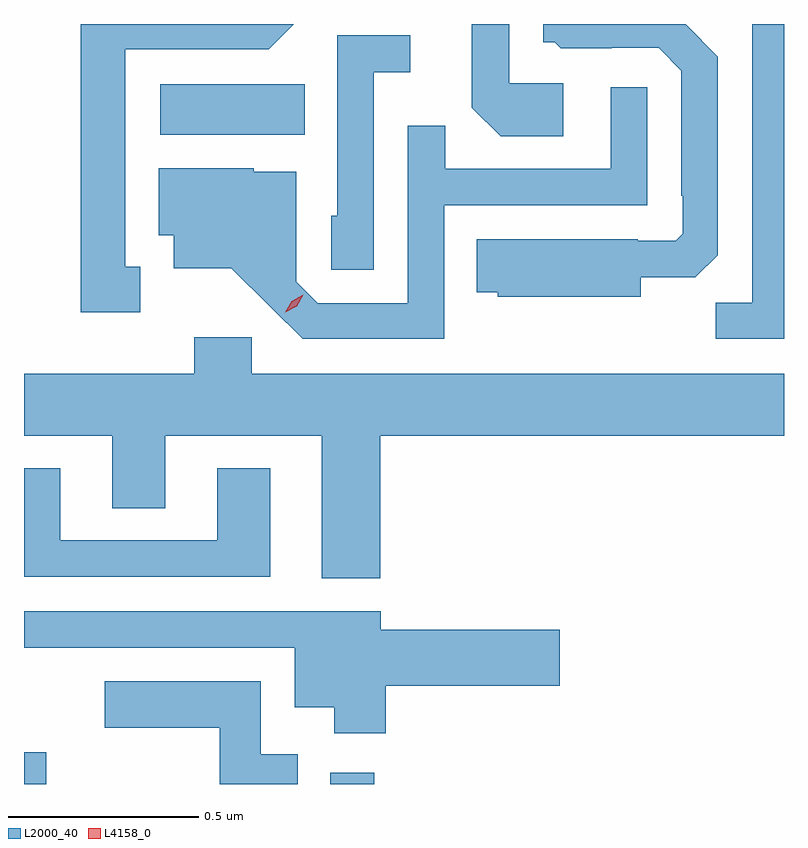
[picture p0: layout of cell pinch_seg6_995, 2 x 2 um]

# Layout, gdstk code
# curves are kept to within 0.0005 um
import gdstk
lib = gdstk.Library(unit=1e-6, precision=1e-09)
def R(c, l, rs):  # rectangles x0, y0, x1, y1
    for r in rs: c.add(gdstk.rectangle(r[:2], r[2:], *l))
def P(c, l, *ps):  # polygons
    for p in ps: c.add(gdstk.Polygon(p, *l))
L2000_40 = (2000, 40)
L4158_0 = (4158, 0)

pinch_seg6_995 = lib.new_cell('pinch_seg6_995')
R(pinch_seg6_995, L2000_40, [(347.695,926.44,347.754,926.523), (348.501,926.44,348.617,926.47), (348.054,928.148,348.434,928.282)])
P(pinch_seg6_995, L2000_40, [(349.114,928.284),(348.972,928.284),(348.972,928.44),(348.873,928.44),(348.873,928.22),(348.949,928.144),(349.114,928.144)],
  [(348.001,927.801),(347.962,927.801),(347.962,928.374),(348.339,928.374),(348.405,928.44),(347.844,928.44),(347.844,927.681),(348.001,927.681)],
  [(349.695,928.44),(349.611,928.44),(349.611,927.707),(349.516,927.707),(349.516,927.612),(349.695,927.612)],
  [(349.318,927.773),(349.462,927.773),(349.521,927.832),(349.521,928.354),(349.436,928.44),(349.061,928.44),(349.061,928.392),(349.092,928.392),(349.108,928.376),(349.242,928.376),(349.242,928.377),(349.365,928.377),(349.425,928.317),(349.425,927.988),(349.428,927.988),(349.428,927.888),(349.41,927.87),(349.31,927.87),(349.31,927.874),(348.886,927.874),(348.886,927.734),(348.942,927.734),(348.942,927.722),(349.318,927.722)],
  [(348.615,928.313),(348.712,928.313),(348.712,928.41),(348.519,928.41),(348.519,927.936),(348.504,927.936),(348.504,927.793),(348.615,927.793)],
  [(348.801,927.963),(349.335,927.963),(349.335,928.273),(349.239,928.273),(349.239,928.059),(348.803,928.059),(348.803,928.172),(348.705,928.172),(348.705,927.705),(348.468,927.705),(348.411,927.762),(348.411,928.051),(348.3,928.051),(348.3,928.06),(348.05,928.06),(348.05,927.884),(348.089,927.884),(348.089,927.797),(348.241,927.797),(348.428,927.612),(348.801,927.612)],
  [(348.632,927.356),(349.695,927.356),(349.695,927.52),(348.294,927.52),(348.294,927.616),(348.143,927.616),(348.143,927.52),(347.695,927.52),(347.695,927.356),(347.927,927.356),(347.927,927.166),(348.067,927.166),(348.067,927.356),(348.479,927.356),(348.479,926.981),(348.632,926.981)],
  [(348.343,927.271),(348.203,927.271),(348.203,927.081),(347.791,927.081),(347.791,927.271),(347.695,927.271),(347.695,926.985),(348.343,926.985)],
  [(348.647,926.699),(349.105,926.699),(349.105,926.846),(348.634,926.846),(348.634,926.895),(347.695,926.895),(347.695,926.799),(348.407,926.799),(348.407,926.642),(348.512,926.642),(348.512,926.574),(348.647,926.574)],
  [(348.416,926.518),(348.318,926.518),(348.318,926.71),(347.907,926.71),(347.907,926.588),(348.21,926.588),(348.21,926.44),(348.416,926.44)])
P(pinch_seg6_995, L4158_0, [(348.382,927.681),(348.382,927.681),(348.399,927.711),(348.43,927.727),(348.43,927.727),(348.43,927.727),(348.413,927.697),(348.382,927.681)])

lib.write_gds('pinch_seg6_995.gds')
